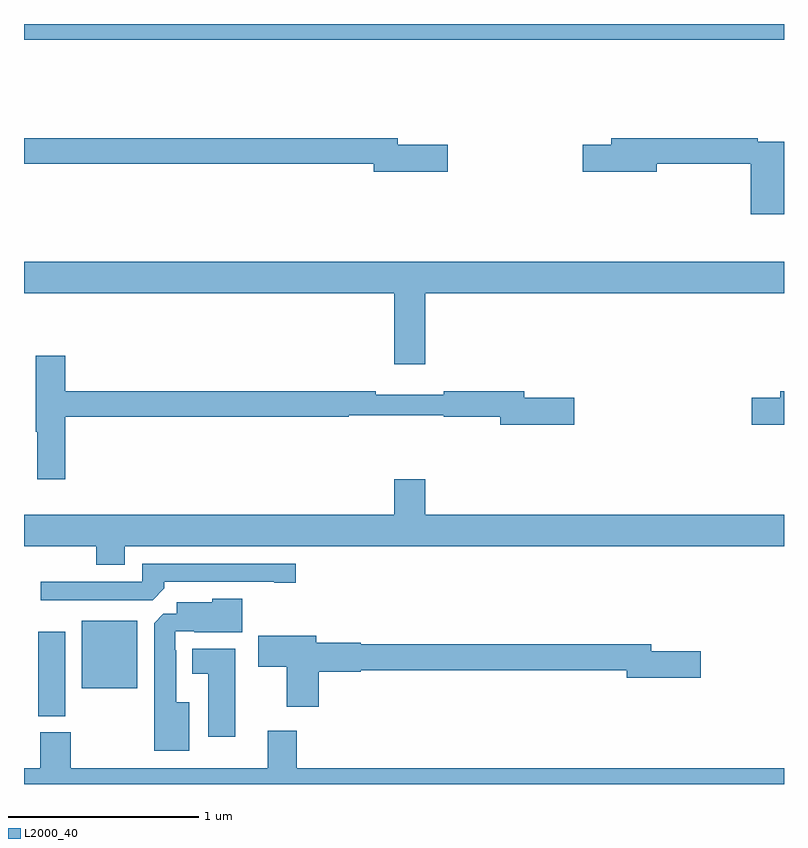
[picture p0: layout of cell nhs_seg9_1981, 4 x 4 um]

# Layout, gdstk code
import gdstk
lib = gdstk.Library(unit=1e-6, precision=1e-09)
def R(c, l, rs):  # rectangles x0, y0, x1, y1
    for r in rs: c.add(gdstk.rectangle(r[:2], r[2:], *l))
def P(c, l, *ps):  # polygons
    for p in ps: c.add(gdstk.Polygon(p, *l))
L2000_40 = (2000, 40)

nhs_seg9_1981 = lib.new_cell('nhs_seg9_1981')
R(nhs_seg9_1981, L2000_40, [(223.075,1196.857,223.216,1197.301), (223.304,1197.005,223.597,1197.358), (223,1200.416,227,1200.5)])
P(nhs_seg9_1981, L2000_40, [(227,1199.88),(226.862,1199.88),(226.862,1199.9),(226.091,1199.9),(226.091,1199.864),(225.942,1199.864),(225.942,1199.722),(226.33,1199.722),(226.33,1199.764),(226.826,1199.764),(226.826,1199.499),(227,1199.499)],
  [(225.229,1199.864),(224.968,1199.864),(224.968,1199.9),(223,1199.9),(223,1199.764),(224.84,1199.764),(224.84,1199.722),(225.229,1199.722)],
  [(225.112,1199.084),(227,1199.084),(227,1199.248),(223,1199.248),(223,1199.084),(224.948,1199.084),(224.948,1198.71),(225.112,1198.71)],
  [(223.217,1198.432),(224.71,1198.432),(224.71,1198.44),(225.21,1198.44),(225.21,1198.432),(225.506,1198.432),(225.506,1198.39),(225.895,1198.39),(225.895,1198.532),(225.634,1198.532),(225.634,1198.568),(225.208,1198.568),(225.208,1198.549),(224.852,1198.549),(224.852,1198.568),(223.217,1198.568),(223.217,1198.753),(223.063,1198.753),(223.063,1198.355),(223.07,1198.355),(223.07,1198.104),(223.217,1198.104)],
  [(227,1198.568),(226.979,1198.568),(226.979,1198.532),(226.83,1198.532),(226.83,1198.39),(227,1198.39)],
  [(223.531,1197.752),(227,1197.752),(227,1197.916),(225.112,1197.916),(225.112,1198.105),(224.948,1198.105),(224.948,1197.916),(223,1197.916),(223,1197.752),(223.379,1197.752),(223.379,1197.653),(223.531,1197.653)],
  [(223.739,1197.53),(223.739,1197.564),(224.318,1197.564),(224.318,1197.559),(224.431,1197.559),(224.431,1197.66),(223.623,1197.66),(223.623,1197.564),(223.089,1197.564),(223.089,1197.468),(223.677,1197.468)],
  [(223.87,1196.929),(223.801,1196.929),(223.801,1197.203),(223.797,1197.203),(223.797,1197.303),(223.897,1197.303),(223.897,1197.299),(224.149,1197.299),(224.149,1197.475),(223.992,1197.475),(223.992,1197.457),(223.805,1197.457),(223.805,1197.396),(223.734,1197.396),(223.685,1197.347),(223.685,1196.675),(223.87,1196.675)],
  [(224.552,1197.092),(224.772,1197.092),(224.772,1197.1),(226.172,1197.1),(226.172,1197.058),(226.561,1197.058),(226.561,1197.2),(226.3,1197.2),(226.3,1197.236),(224.772,1197.236),(224.772,1197.244),(224.539,1197.244),(224.539,1197.28),(224.232,1197.28),(224.232,1197.118),(224.384,1197.118),(224.384,1196.907),(224.552,1196.907)],
  [(224.113,1197.211),(223.886,1197.211),(223.886,1197.08),(223.97,1197.08),(223.97,1196.748),(224.113,1196.748)],
  [(227,1196.584),(224.435,1196.584),(224.435,1196.779),(224.282,1196.779),(224.282,1196.584),(223.245,1196.584),(223.245,1196.772),(223.085,1196.772),(223.085,1196.584),(223,1196.584),(223,1196.5),(227,1196.5)])

lib.write_gds('nhs_seg9_1981.gds')
